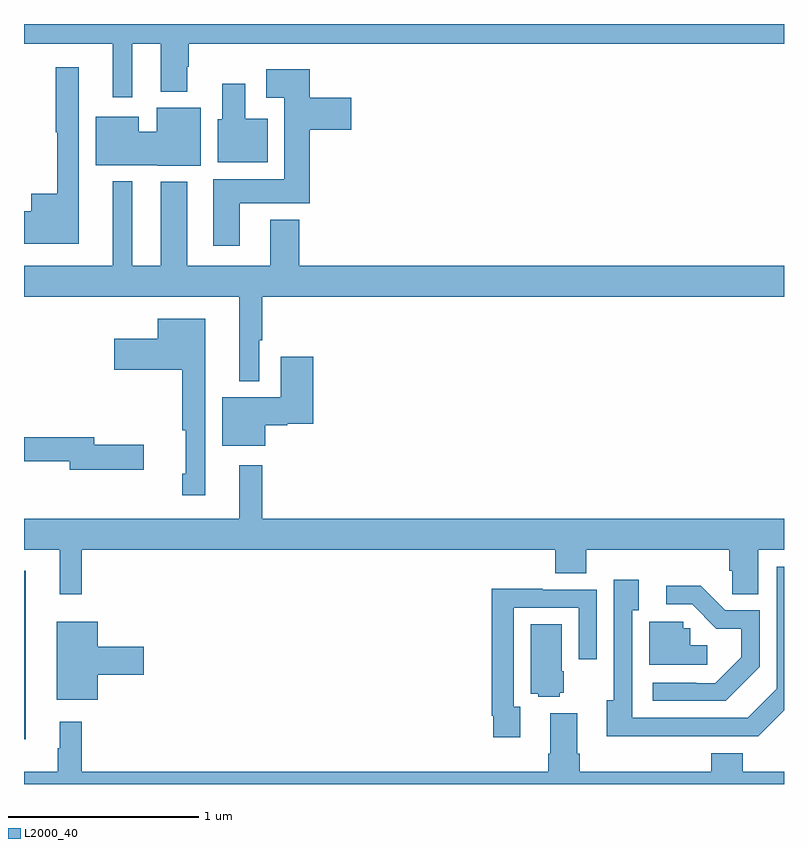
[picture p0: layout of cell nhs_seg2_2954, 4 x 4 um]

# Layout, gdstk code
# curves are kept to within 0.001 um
import gdstk
lib = gdstk.Library(unit=1e-6, precision=1e-09)
def R(c, l, rs):  # rectangles x0, y0, x1, y1
    for r in rs: c.add(gdstk.rectangle(r[:2], r[2:], *l))
def P(c, l, *ps):  # polygons
    for p in ps: c.add(gdstk.Polygon(p, *l))
L2000_40 = (2000, 40)

nhs_seg2_2954 = lib.new_cell('nhs_seg2_2954')
R(nhs_seg2_2954, L2000_40, [(267,584.036,267.01,584.923)])
P(nhs_seg2_2954, L2000_40, [(267.571,587.696),(267.719,587.696),(267.719,587.444),(267.859,587.444),(267.859,587.576),(267.867,587.576),(267.867,587.696),(271,587.696),(271,587.8),(267,587.8),(267,587.696),(267.467,587.696),(267.467,587.415),(267.571,587.415)],
  [(267.289,587.572),(267.168,587.572),(267.168,587.231),(267.175,587.231),(267.175,586.906),(267.038,586.906),(267.038,586.814),(267,586.814),(267,586.643),(267.289,586.643)],
  [(268.135,586.856),(268.505,586.856),(268.505,587.243),(268.723,587.243),(268.723,587.413),(268.505,587.413),(268.505,587.563),(268.275,587.563),(268.275,587.411),(268.37,587.411),(268.37,586.984),(267.995,586.984),(267.995,586.632),(268.135,586.632)],
  [(268.282,587.302),(268.165,587.302),(268.165,587.485),(268.043,587.485),(268.043,587.298),(268.019,587.298),(268.019,587.072),(268.282,587.072)],
  [(267.931,587.359),(267.698,587.359),(267.698,587.233),(267.604,587.233),(267.604,587.311),(267.377,587.311),(267.377,587.057),(267.702,587.057),(267.702,587.054),(267.931,587.054)],
  [(268.237,586.135),(268.255,586.135),(268.255,586.364),(271,586.364),(271,586.528),(268.448,586.528),(268.448,586.771),(268.295,586.771),(268.295,586.528),(267.859,586.528),(267.859,586.969),(267.719,586.969),(267.719,586.528),(267.571,586.528),(267.571,586.972),(267.467,586.972),(267.467,586.528),(267,586.528),(267,586.364),(268.133,586.364),(268.133,585.92),(268.237,585.92)],
  [(267.955,586.249),(267.704,586.249),(267.704,586.144),(267.474,586.144),(267.474,585.979),(267.834,585.979),(267.834,585.662),(267.851,585.662),(267.851,585.433),(267.834,585.433),(267.834,585.321),(267.955,585.321)],
  [(268.27,585.688),(268.386,585.688),(268.386,585.695),(268.523,585.695),(268.523,586.048),(268.352,586.048),(268.352,585.835),(268.043,585.835),(268.043,585.581),(268.27,585.581)],
  [(267.631,585.585),(267.37,585.585),(267.37,585.626),(267,585.626),(267,585.498),(267.242,585.498),(267.242,585.455),(267.631,585.455)],
  [(267.305,585.032),(269.795,585.032),(269.795,584.908),(269.96,584.908),(269.96,585.032),(270.713,585.032),(270.713,584.922),(270.727,584.922),(270.727,584.8),(270.865,584.8),(270.865,585.032),(271,585.032),(271,585.196),(268.255,585.196),(268.255,585.478),(268.133,585.478),(268.133,585.196),(267,585.196),(267,585.032),(267.188,585.032),(267.188,584.799),(267.305,584.799)],
  [(270.533,584.052),(270.864,584.052),(271,584.188),(271,584.943),(270.963,584.943),(270.963,584.301),(270.81,584.148),(270.201,584.148),(270.201,584.714),(270.235,584.714),(270.235,584.875),(270.105,584.875),(270.105,584.242),(270.068,584.242),(270.068,584.051)],
  [(270.873,584.417),(270.873,584.715),(270.69,584.715),(270.562,584.843),(270.381,584.843),(270.381,584.745),(270.516,584.745),(270.643,584.618),(270.776,584.618),(270.776,584.468),(270.639,584.331),(270.539,584.331),(270.539,584.334),(270.309,584.334),(270.309,584.238),(270.694,584.238)],
  [(269.611,584.207),(269.577,584.207),(269.577,584.727),(269.919,584.727),(269.919,584.457),(270.015,584.457),(270.015,584.823),(269.731,584.823),(269.731,584.827),(269.461,584.827),(269.461,584.158),(269.469,584.158),(269.469,584.046),(269.611,584.046)],
  [(270.595,584.53),(270.507,584.53),(270.507,584.619),(270.471,584.619),(270.471,584.655),(270.29,584.655),(270.29,584.427),(270.595,584.427)],
  [(267.388,584.375),(267.631,584.375),(267.631,584.522),(267.388,584.522),(267.388,584.653),(267.173,584.653),(267.173,584.243),(267.388,584.243)],
  [(269.82,584.28),(269.842,584.28),(269.842,584.394),(269.83,584.394),(269.83,584.642),(269.666,584.642),(269.666,584.276),(269.706,584.276),(269.706,584.258),(269.82,584.258)],
  [(269.771,584.173),(269.771,583.96),(269.759,583.96),(269.759,583.864),(267.305,583.864),(267.305,584.128),(267.188,584.128),(267.188,583.988),(267.177,583.988),(267.177,583.864),(267,583.864),(267,583.8),(271,583.8),(271,583.864),(270.782,583.864),(270.782,583.963),(270.617,583.963),(270.617,583.864),(269.924,583.864),(269.924,583.96),(269.911,583.96),(269.911,584.173)])

lib.write_gds('nhs_seg2_2954.gds')
